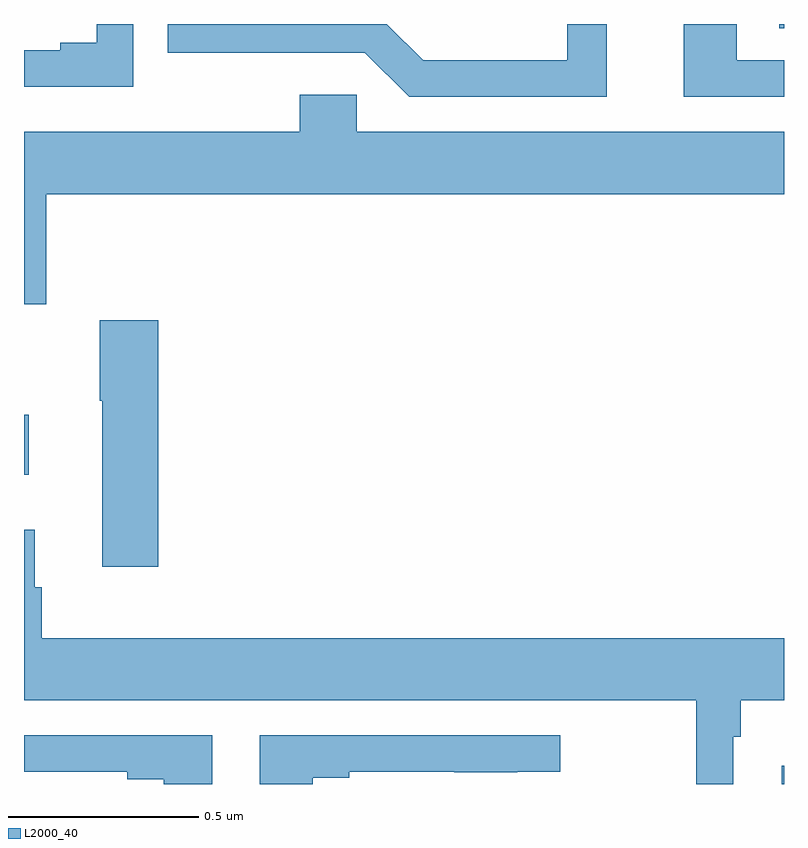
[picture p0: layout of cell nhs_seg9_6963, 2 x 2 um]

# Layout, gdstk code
import gdstk
lib = gdstk.Library(unit=1e-6, precision=1e-09)
def R(c, l, rs):  # rectangles x0, y0, x1, y1
    for r in rs: c.add(gdstk.rectangle(r[:2], r[2:], *l))
def P(c, l, *ps):  # polygons
    for p in ps: c.add(gdstk.Polygon(p, *l))
L2000_40 = (2000, 40)

nhs_seg9_6963 = lib.new_cell('nhs_seg9_6963')
R(nhs_seg9_6963, L2000_40, [(199.994,1229.5,200,1229.548), (198,1230.314,198.013,1230.472), (199.988,1231.489,200,1231.5)])
P(nhs_seg9_6963, L2000_40, [(200,1231.404),(199.876,1231.404),(199.876,1231.5),(199.736,1231.5),(199.736,1231.308),(200,1231.308)],
  [(198.288,1231.5),(198.191,1231.5),(198.191,1231.451),(198.095,1231.451),(198.095,1231.431),(198,1231.431),(198,1231.335),(198.288,1231.335)],
  [(199.534,1231.5),(199.43,1231.5),(199.43,1231.404),(199.05,1231.404),(198.954,1231.5),(198.378,1231.5),(198.378,1231.424),(198.641,1231.424),(198.641,1231.425),(198.897,1231.425),(199.014,1231.308),(199.534,1231.308)],
  [(198.059,1231.052),(200,1231.052),(200,1231.216),(198.876,1231.216),(198.876,1231.314),(198.725,1231.314),(198.725,1231.216),(198,1231.216),(198,1230.762),(198.059,1230.762)],
  [(198.353,1230.721),(198.199,1230.721),(198.199,1230.508),(198.206,1230.508),(198.206,1230.072),(198.353,1230.072)],
  [(199.866,1229.624),(199.886,1229.624),(199.886,1229.72),(200,1229.72),(200,1229.884),(198.047,1229.884),(198.047,1230.018),(198.028,1230.018),(198.028,1230.169),(198,1230.169),(198,1229.72),(199.769,1229.72),(199.769,1229.5),(199.866,1229.5)],
  [(198.496,1229.628),(198,1229.628),(198,1229.532),(198.272,1229.532),(198.272,1229.512),(198.368,1229.512),(198.368,1229.5),(198.496,1229.5)],
  [(198.76,1229.517),(198.856,1229.517),(198.856,1229.532),(199.132,1229.532),(199.132,1229.531),(199.298,1229.531),(199.298,1229.532),(199.411,1229.532),(199.411,1229.628),(198.62,1229.628),(198.62,1229.5),(198.76,1229.5)])

lib.write_gds('nhs_seg9_6963.gds')
